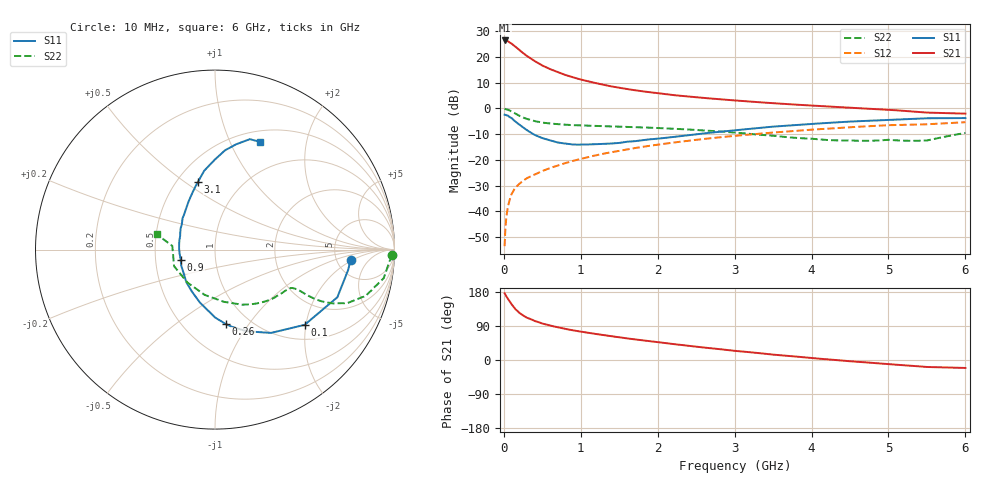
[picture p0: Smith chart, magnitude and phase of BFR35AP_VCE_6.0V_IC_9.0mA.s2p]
! Infineon Technologies  Discrete & RF Semiconductors
! BFR35AP
! VCE =  6.0 V,  IC =  9.0 mA
! Common Emitter S-Parameters:  Nov 2015
# GHz  S  MA  R  50
!  f  S11  S21  S12  S22
! GHz  MAG  ANG  MAG  ANG  MAG  ANG  MAG  ANG
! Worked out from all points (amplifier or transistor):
!   210 points, 10 MHz to 6 GHz, reference 50 ohm
!   highest |S21| = 26.5 dB at 10 MHz (marker M1)
!   |S21| within 3 dB of that: start of sweep to 173.9 MHz
!   unconditionally stable (mu >= 1): 648.9 MHz to 2.977 GHz
!   at 185 MHz: K = 0.52, MSG = 26.5 dB, |S12| = -29.8 dB
!   at 1.52 GHz: K = 1.10, MAG = 10.3 dB, |S12| = -16.3 dB
!   at 6 GHz: K = 0.91, MSG = 1.7 dB, |S12| = -5.3 dB
!   S11 on the Smith chart (normalised r, x): 10 MHz: 6.79, -1.77; 100 MHz: 1.35, -1.97; 260 MHz: 0.78, -0.79; 900 MHz: 0.68, -0.08; 3.1 GHz: 0.63, +0.56; 6 GHz: 0.63, +1.31
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0.01  0.7579 -4.2  21.04 176.1  0.0021 89.0  0.9888 -1.8
0.02  0.7502 -8.8  20.96 172.2  0.0046 84.7  0.9743 -3.9
0.05  0.7315 -21.3  20.45 162.1  0.0116 79.2  0.9534 -9.6
0.1  0.6521 -40.0  18.3 147.1  0.0215 71.8  0.8792 -17.0
0.15  0.5592 -56.1  15.98 134.0  0.0289 66.3  0.7953 -22.0
0.2  0.4877 -68.9  13.81 124.8  0.0341 63.8  0.7236 -24.5
0.24  0.4407 -77.5  12.3 119.1  0.0383 62.6  0.679 -25.5
0.26  0.4194 -81.7  11.65 116.3  0.0403 62.3  0.6595 -25.9
0.3  0.3788 -89.8  10.5 111.5  0.0441 62.1  0.6259 -26.3
0.4  0.3073 -105.8  8.37 103.1  0.0518 62.0  0.5674 -26.3
0.5  0.266 -119.2  6.849 96.2  0.0606 63.2  0.5311 -25.9
0.6  0.2414 -131.6  5.84 90.9  0.0694 63.8  0.5105 -25.9
0.7  0.2182 -142.9  5.092 86.1  0.0776 64.1  0.4955 -26.0
0.9  0.1992 -163.4  4.02 78.2  0.0959 64.7  0.4743 -26.8
1.02  0.1985 -174.5  3.596 74.3  0.1064 64.7  0.4673 -27.7
1.4  0.2085 158.5  2.683 62.6  0.1414 63.0  0.4483 -32.0
2.02  0.2606 131.4  1.96 46.5  0.1997 58.6  0.4158 -41.8
2.56  0.3231 115.0  1.623 33.8  0.2514 53.6  0.3786 -52.6
3.1  0.3899 104.0  1.398 22.4  0.3028 47.5  0.3308 -66.7
4.1  0.5119 88.8  1.118 3.5  0.3957 35.6  0.2505 -108.0
5.1  0.6075 77.3  0.923 -12.4  0.4766 21.7  0.2403 -163.1
6  0.651 67.2  0.794 -21.0  0.5411 11.3  0.3347 165.4
